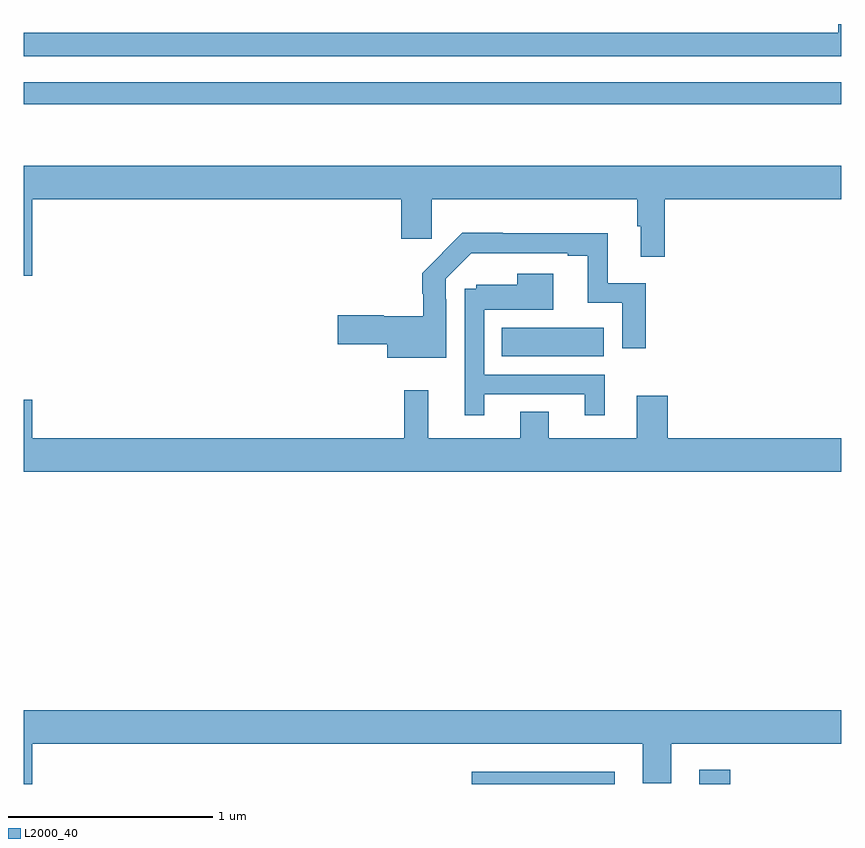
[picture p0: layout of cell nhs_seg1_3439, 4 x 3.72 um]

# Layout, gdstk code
import gdstk
lib = gdstk.Library(unit=1e-6, precision=1e-09)
def R(c, l, rs):  # rectangles x0, y0, x1, y1
    for r in rs: c.add(gdstk.rectangle(r[:2], r[2:], *l))
def P(c, l, *ps):  # polygons
    for p in ps: c.add(gdstk.Polygon(p, *l))
L2000_40 = (2000, 40)

nhs_seg1_3439 = lib.new_cell('nhs_seg1_3439')
R(nhs_seg1_3439, L2000_40, [(299.193,554.199,299.893,554.26), (300.305,554.199,300.458,554.269), (299.338,556.292,299.839,556.432), (297,557.526,301,557.634)])
P(nhs_seg1_3439, L2000_40, [(301,557.919),(300.986,557.919),(300.986,557.876),(297,557.876),(297,557.76),(301,557.76)],
  [(297.04,557.06),(298.847,557.06),(298.847,556.869),(298.997,556.869),(298.997,557.06),(300.001,557.06),(300.001,556.928),(300.02,556.928),(300.02,556.779),(300.137,556.779),(300.137,557.06),(301,557.06),(301,557.224),(297,557.224),(297,556.686),(297.04,556.686)],
  [(299.067,556.571),(299.064,556.571),(299.064,556.671),(299.19,556.797),(299.663,556.797),(299.663,556.785),(299.759,556.785),(299.759,556.554),(299.928,556.554),(299.928,556.332),(300.044,556.332),(300.044,556.65),(299.857,556.65),(299.857,556.894),(299.345,556.894),(299.345,556.897),(299.146,556.897),(298.949,556.699),(298.949,556.598),(298.955,556.598),(298.955,556.488),(298.761,556.488),(298.761,556.493),(298.536,556.493),(298.536,556.351),(298.778,556.351),(298.778,556.286),(299.067,556.286)],
  [(299.254,556.107),(299.744,556.107),(299.744,556.005),(299.842,556.005),(299.842,556.203),(299.253,556.203),(299.253,556.52),(299.59,556.52),(299.59,556.696),(299.414,556.696),(299.414,556.642),(299.214,556.642),(299.214,556.623),(299.157,556.623),(299.157,556.005),(299.254,556.005)],
  [(301,555.892),(300.152,555.892),(300.152,556.099),(299.999,556.099),(299.999,555.892),(299.569,555.892),(299.569,556.022),(299.429,556.022),(299.429,555.892),(298.979,555.892),(298.979,556.126),(298.861,556.126),(298.861,555.892),(297.04,555.892),(297.04,556.081),(297,556.081),(297,555.728),(301,555.728)],
  [(297.04,554.396),(300.029,554.396),(300.029,554.202),(300.169,554.202),(300.169,554.396),(301,554.396),(301,554.56),(297,554.56),(297,554.199),(297.04,554.199)])

lib.write_gds('nhs_seg1_3439.gds')
